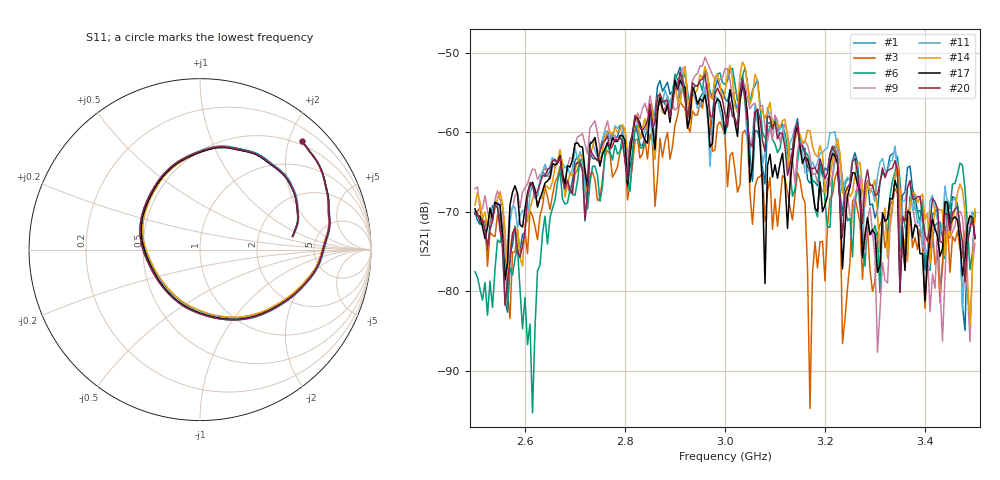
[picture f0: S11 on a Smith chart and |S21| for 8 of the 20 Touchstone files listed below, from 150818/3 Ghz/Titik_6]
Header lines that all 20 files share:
# Hz S RI R 50
! CMT, C1220, 16058040, 17.2.0/1
! Data: Format (Calibration Info)
! Freq  S11: Re/Im (F2)  S21: Re/Im (F2)  S12: Re/Im (F2)  S22: Re/Im (F2)
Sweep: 2.5 GHz to 3.5 GHz
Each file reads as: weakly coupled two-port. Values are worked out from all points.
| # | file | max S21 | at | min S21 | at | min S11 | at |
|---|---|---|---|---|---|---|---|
| 1 | Sudut_0_Titik_6.s2p | -51.80 dB | 2.91 GHz | -84.9 dB | 3.48 GHz | -10.3 dB | 2.98 GHz |
| 2 | Sudut_10_Titik_6.s2p | -52.37 dB | 2.91 GHz | -86.5 dB | 2.525 GHz | -10.4 dB | 2.98 GHz |
| 3 | Sudut_40_Titik_6.s2p | -53.90 dB | 2.965 GHz | -94.8 dB | 3.17 GHz | -10.4 dB | 2.98 GHz |
| 4 | Sudut_50_Titik_6.s2p | -52.99 dB | 2.965 GHz | -96.3 dB | 2.565 GHz | -10.4 dB | 2.98 GHz |
| 5 | Sudut_60_Titik_6.s2p | -52.36 dB | 2.965 GHz | -106.1 dB | 3.41 GHz | -10.5 dB | 2.98 GHz |
| 6 | Sudut_90_Titik_6.s2p | -51.85 dB | 3.04 GHz | -95.3 dB | 2.615 GHz | -10.8 dB | 2.98 GHz |
| 7 | Sudut_100_Titik_6.s2p | -51.48 dB | 2.96 GHz | -86.9 dB | 3.325 GHz | -10.6 dB | 2.98 GHz |
| 8 | Sudut_130_Titik_6.s2p | -51.65 dB | 2.915 GHz | -90.4 dB | 3.41 GHz | -10.2 dB | 2.98 GHz |
| 9 | Sudut_140_Titik_6.s2p | -50.55 dB | 2.96 GHz | -87.7 dB | 3.305 GHz | -10.3 dB | 2.98 GHz |
| 10 | Sudut_150_Titik_6.s2p | -50.12 dB | 2.96 GHz | -84.4 dB | 3.405 GHz | -10.6 dB | 2.98 GHz |
| 11 | Sudut_210_Titik_6.s2p | -53.33 dB | 2.91 GHz | -82.5 dB | 3.475 GHz | -10.4 dB | 2.98 GHz |
| 12 | Sudut_260_Titik_6.s2p | -50.43 dB | 2.92 GHz | -86.6 dB | 2.565 GHz | -10.8 dB | 2.98 GHz |
| 13 | Sudut_280_Titik_6.s2p | -51.15 dB | 3.035 GHz | -85.6 dB | 3.495 GHz | -10.8 dB | 2.98 GHz |
| 14 | Sudut_290_Titik_6.s2p | -51.16 dB | 3.035 GHz | -84.4 dB | 3.49 GHz | -10.9 dB | 2.98 GHz |
| 15 | Sudut_300_Titik_6.s2p | -51.13 dB | 3.035 GHz | -89.7 dB | 3.485 GHz | -10.8 dB | 2.98 GHz |
| 16 | Sudut_310_Titik_6.s2p | -52.52 dB | 2.96 GHz | -94.2 dB | 3.4 GHz | -10.7 dB | 2.98 GHz |
| 17 | Sudut_330_Titik_6.s2p | -53.40 dB | 2.9 GHz | -81.2 dB | 3.4 GHz | -10.5 dB | 2.98 GHz |
| 18 | Sudut_340_Titik_6.s2p | -53.36 dB | 2.935 GHz | -99.1 dB | 3.35 GHz | -10.4 dB | 2.98 GHz |
| 19 | Sudut_350_Titik_6.s2p | -51.90 dB | 2.91 GHz | -101.9 dB | 3.475 GHz | -10.3 dB | 2.98 GHz |
| 20 | Sudut_360_Titik_6.s2p | -52.41 dB | 2.91 GHz | -81.8 dB | 2.56 GHz | -10.3 dB | 2.98 GHz |
